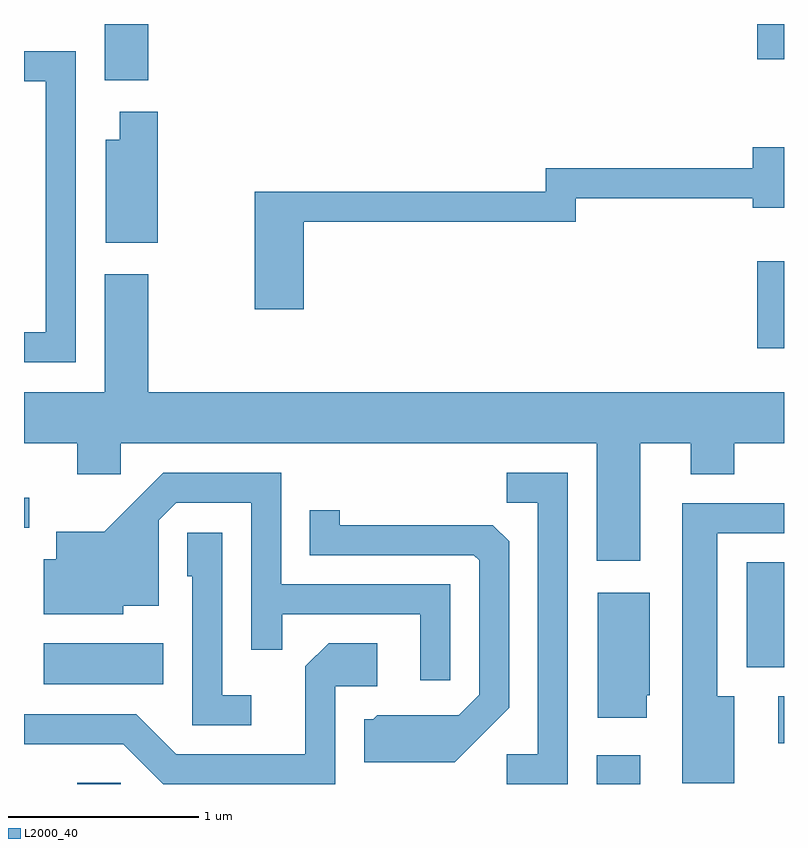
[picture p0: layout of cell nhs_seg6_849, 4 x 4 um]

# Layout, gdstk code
import gdstk
lib = gdstk.Library(unit=1e-6, precision=1e-09)
def R(c, l, rs):  # rectangles x0, y0, x1, y1
    for r in rs: c.add(gdstk.rectangle(r[:2], r[2:], *l))
def P(c, l, *ps):  # polygons
    for p in ps: c.add(gdstk.Polygon(p, *l))
L2000_40 = (2000, 40)

nhs_seg6_849 = lib.new_cell('nhs_seg6_849')
R(nhs_seg6_849, L2000_40, [(209.891,1628.162,210.119,1628.169), (212.626,1628.162,212.854,1628.314), (213.581,1628.376,213.611,1628.624), (209.716,1628.686,210.344,1628.904), (213.416,1628.776,213.611,1629.329), (209.611,1629.511,209.638,1629.669), (213.471,1630.456,213.611,1630.914), (210.036,1631.866,210.264,1632.162), (213.471,1631.976,213.611,1632.162)])
P(nhs_seg6_849, L2000_40, [(209.884,1632.019),(209.611,1632.019),(209.611,1631.861),(209.726,1631.861),(209.726,1630.539),(209.611,1630.539),(209.611,1630.381),(209.884,1630.381)],
  [(210.314,1631.699),(210.116,1631.699),(210.116,1631.554),(210.041,1631.554),(210.041,1631.011),(210.314,1631.011)],
  [(211.084,1631.121),(212.514,1631.121),(212.514,1631.246),(213.446,1631.246),(213.446,1631.196),(213.611,1631.196),(213.611,1631.514),(213.446,1631.514),(213.446,1631.404),(212.356,1631.404),(212.356,1631.279),(210.826,1631.279),(210.826,1630.661),(211.084,1630.661)],
  [(212.854,1629.956),(213.121,1629.956),(213.121,1629.791),(213.349,1629.791),(213.349,1629.956),(213.611,1629.956),(213.611,1630.224),(210.264,1630.224),(210.264,1630.844),(210.036,1630.844),(210.036,1630.224),(209.611,1630.224),(209.611,1629.956),(209.891,1629.956),(209.891,1629.791),(210.119,1629.791),(210.119,1629.956),(212.626,1629.956),(212.626,1629.336),(212.854,1629.336)],
  [(212.474,1629.799),(212.153,1629.799),(212.153,1629.641),(212.316,1629.641),(212.316,1628.319),(212.153,1628.319),(212.153,1628.162),(212.474,1628.162)],
  [(211.854,1629.214),(210.964,1629.214),(210.964,1629.799),(210.344,1629.799),(210.034,1629.489),(209.781,1629.489),(209.781,1629.344),(209.716,1629.344),(209.716,1629.056),(210.134,1629.056),(210.134,1629.101),(210.319,1629.101),(210.319,1629.549),(210.412,1629.641),(210.806,1629.641),(210.806,1628.868),(210.969,1628.868),(210.969,1629.056),(211.696,1629.056),(211.696,1628.708),(211.854,1628.708)],
  [(213.349,1628.624),(213.259,1628.624),(213.259,1629.481),(213.611,1629.481),(213.611,1629.639),(213.076,1629.639),(213.076,1628.166),(213.349,1628.166)],
  [(212.164,1628.564),(212.164,1629.439),(212.079,1629.524),(211.274,1629.524),(211.274,1629.603),(211.116,1629.603),(211.116,1629.366),(211.979,1629.366),(212.006,1629.339),(212.006,1628.632),(211.899,1628.524),(211.469,1628.524),(211.449,1628.504),(211.401,1628.504),(211.401,1628.276),(211.877,1628.276)],
  [(210.808,1628.629),(210.654,1628.629),(210.654,1629.484),(210.471,1629.484),(210.471,1629.256),(210.496,1629.256),(210.496,1628.471),(210.808,1628.471)],
  [(212.889,1628.63),(212.904,1628.63),(212.904,1629.169),(212.631,1629.169),(212.631,1628.511),(212.889,1628.511)],
  [(211.249,1628.676),(211.469,1628.676),(211.469,1628.904),(211.214,1628.904),(211.091,1628.782),(211.091,1628.319),(210.412,1628.319),(210.202,1628.529),(209.611,1628.529),(209.611,1628.371),(210.134,1628.371),(210.343,1628.162),(211.249,1628.162)])

lib.write_gds('nhs_seg6_849.gds')
